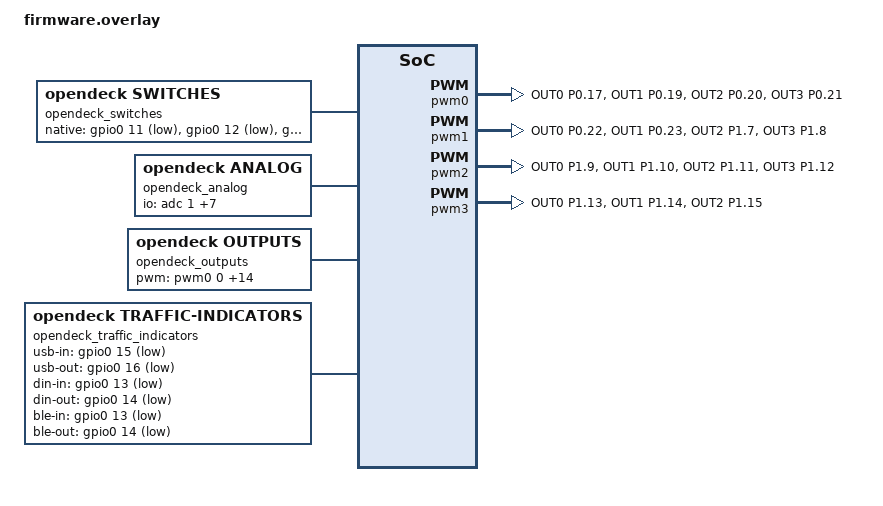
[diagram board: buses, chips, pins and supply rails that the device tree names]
/ {
    opendeck_metadata: opendeck-metadata {
        compatible = "opendeck,metadata";
        zephyr-board = "nrf52840dk/nrf52840";
    };

    opendeck_transports: opendeck-transports {
        compatible = "opendeck,transports";
        uart = <&opendeck_uart_din_midi>;
        usb;
        ble;
    };

    opendeck_tests: opendeck-tests {
        compatible = "opendeck,tests";
        host;
        hardware;
    };

    opendeck_bulk_build: opendeck-bulk-build {
        compatible = "opendeck,bulk-build";
        app;
        hardware-test;
    };

    opendeck_switches: opendeck-switches {
        compatible = "opendeck,switches";
        mode = "native";
        native-gpios =
            <&gpio0 11 (GPIO_PULL_UP | GPIO_ACTIVE_LOW)>,
            <&gpio0 12 (GPIO_PULL_UP | GPIO_ACTIVE_LOW)>,
            <&gpio0 24 (GPIO_PULL_UP | GPIO_ACTIVE_LOW)>,
            <&gpio0 25 (GPIO_PULL_UP | GPIO_ACTIVE_LOW)>,
            <&gpio1 1 (GPIO_PULL_UP | GPIO_ACTIVE_LOW)>,
            <&gpio1 2 (GPIO_PULL_UP | GPIO_ACTIVE_LOW)>,
            <&gpio1 3 (GPIO_PULL_UP | GPIO_ACTIVE_LOW)>,
            <&gpio1 4 (GPIO_PULL_UP | GPIO_ACTIVE_LOW)>,
            <&gpio1 5 (GPIO_PULL_UP | GPIO_ACTIVE_LOW)>,
            <&gpio1 6 (GPIO_PULL_UP | GPIO_ACTIVE_LOW)>;
    };

    opendeck_analog: opendeck-analog {
        compatible = "opendeck,analog";
        mode = "native";
        io-channels =
            <&adc 1>,
            <&adc 2>,
            <&adc 4>,
            <&adc 5>,
            <&adc 6>,
            <&adc 7>,
            <&adc 3>,
            <&adc 0>;
    };

    opendeck_outputs: opendeck-outputs {
        compatible = "opendeck,outputs";
        mode = "pwm";
        pwms =
            <&pwm0 0 PWM_MSEC(1) PWM_POLARITY_NORMAL>,
            <&pwm0 1 PWM_MSEC(1) PWM_POLARITY_NORMAL>,
            <&pwm0 2 PWM_MSEC(1) PWM_POLARITY_NORMAL>,
            <&pwm0 3 PWM_MSEC(1) PWM_POLARITY_NORMAL>,
            <&pwm1 0 PWM_MSEC(1) PWM_POLARITY_NORMAL>,
            <&pwm1 1 PWM_MSEC(1) PWM_POLARITY_NORMAL>,
            <&pwm1 2 PWM_MSEC(1) PWM_POLARITY_NORMAL>,
            <&pwm1 3 PWM_MSEC(1) PWM_POLARITY_NORMAL>,
            <&pwm2 0 PWM_MSEC(1) PWM_POLARITY_NORMAL>,
            <&pwm2 1 PWM_MSEC(1) PWM_POLARITY_NORMAL>,
            <&pwm2 2 PWM_MSEC(1) PWM_POLARITY_NORMAL>,
            <&pwm2 3 PWM_MSEC(1) PWM_POLARITY_NORMAL>,
            <&pwm3 0 PWM_MSEC(1) PWM_POLARITY_NORMAL>,
            <&pwm3 1 PWM_MSEC(1) PWM_POLARITY_NORMAL>,
            <&pwm3 2 PWM_MSEC(1) PWM_POLARITY_NORMAL>;
    };

    opendeck_touchscreen: opendeck-touchscreen {
        compatible = "opendeck,touchscreen";
        component-count = <64>;
        uart = <&opendeck_uart_touchscreen>;
    };

    opendeck_traffic_indicators: opendeck-traffic-indicators {
        compatible = "opendeck,traffic-indicators";
        usb-in-gpios = <&gpio0 15 GPIO_ACTIVE_LOW>;
        usb-out-gpios = <&gpio0 16 GPIO_ACTIVE_LOW>;
        din-in-gpios = <&gpio0 13 GPIO_ACTIVE_LOW>;
        din-out-gpios = <&gpio0 14 GPIO_ACTIVE_LOW>;
        ble-in-gpios = <&gpio0 13 GPIO_ACTIVE_LOW>;
        ble-out-gpios = <&gpio0 14 GPIO_ACTIVE_LOW>;
    };

    opendeck_display: opendeck-display {
        compatible = "opendeck,display-i2c";
        i2c = <&opendeck_i2c_display>;
    };
};

opendeck_uart_din_midi: &uart1 {};

opendeck_uart_touchscreen: &uart1 {};

opendeck_i2c_display: &i2c0 {};

&pinctrl {
    opendeck_pwm0_default: opendeck_pwm0_default {
        group1 {
            psels = <NRF_PSEL(PWM_OUT0, 0, 17)>,
                    <NRF_PSEL(PWM_OUT1, 0, 19)>,
                    <NRF_PSEL(PWM_OUT2, 0, 20)>,
                    <NRF_PSEL(PWM_OUT3, 0, 21)>;
        };
    };

    opendeck_pwm1_default: opendeck_pwm1_default {
        group1 {
            psels = <NRF_PSEL(PWM_OUT0, 0, 22)>,
                    <NRF_PSEL(PWM_OUT1, 0, 23)>,
                    <NRF_PSEL(PWM_OUT2, 1, 7)>,
                    <NRF_PSEL(PWM_OUT3, 1, 8)>;
        };
    };

    opendeck_pwm2_default: opendeck_pwm2_default {
        group1 {
            psels = <NRF_PSEL(PWM_OUT0, 1, 9)>,
                    <NRF_PSEL(PWM_OUT1, 1, 10)>,
                    <NRF_PSEL(PWM_OUT2, 1, 11)>,
                    <NRF_PSEL(PWM_OUT3, 1, 12)>;
        };
    };

    opendeck_pwm3_default: opendeck_pwm3_default {
        group1 {
            psels = <NRF_PSEL(PWM_OUT0, 1, 13)>,
                    <NRF_PSEL(PWM_OUT1, 1, 14)>,
                    <NRF_PSEL(PWM_OUT2, 1, 15)>;
        };
    };

    opendeck_pwm0_sleep: opendeck_pwm0_sleep {
        group1 {
            psels = <NRF_PSEL(PWM_OUT0, 0, 17)>,
                    <NRF_PSEL(PWM_OUT1, 0, 19)>,
                    <NRF_PSEL(PWM_OUT2, 0, 20)>,
                    <NRF_PSEL(PWM_OUT3, 0, 21)>;
            low-power-enable;
        };
    };

    opendeck_pwm1_sleep: opendeck_pwm1_sleep {
        group1 {
            psels = <NRF_PSEL(PWM_OUT0, 0, 22)>,
                    <NRF_PSEL(PWM_OUT1, 0, 23)>,
                    <NRF_PSEL(PWM_OUT2, 1, 7)>,
                    <NRF_PSEL(PWM_OUT3, 1, 8)>;
            low-power-enable;
        };
    };

    opendeck_pwm2_sleep: opendeck_pwm2_sleep {
        group1 {
            psels = <NRF_PSEL(PWM_OUT0, 1, 9)>,
                    <NRF_PSEL(PWM_OUT1, 1, 10)>,
                    <NRF_PSEL(PWM_OUT2, 1, 11)>,
                    <NRF_PSEL(PWM_OUT3, 1, 12)>;
            low-power-enable;
        };
    };

    opendeck_pwm3_sleep: opendeck_pwm3_sleep {
        group1 {
            psels = <NRF_PSEL(PWM_OUT0, 1, 13)>,
                    <NRF_PSEL(PWM_OUT1, 1, 14)>,
                    <NRF_PSEL(PWM_OUT2, 1, 15)>;
            low-power-enable;
        };
    };
};

&pwm0 {
    pinctrl-0 = <&opendeck_pwm0_default>;
    pinctrl-1 = <&opendeck_pwm0_sleep>;
    pinctrl-names = "default", "sleep";
    status = "okay";
};

&pwm1 {
    pinctrl-0 = <&opendeck_pwm1_default>;
    pinctrl-1 = <&opendeck_pwm1_sleep>;
    pinctrl-names = "default", "sleep";
    status = "okay";
};

&pwm2 {
    pinctrl-0 = <&opendeck_pwm2_default>;
    pinctrl-1 = <&opendeck_pwm2_sleep>;
    pinctrl-names = "default", "sleep";
    status = "okay";
};

&pwm3 {
    pinctrl-0 = <&opendeck_pwm3_default>;
    pinctrl-1 = <&opendeck_pwm3_sleep>;
    pinctrl-names = "default", "sleep";
    status = "okay";
};
